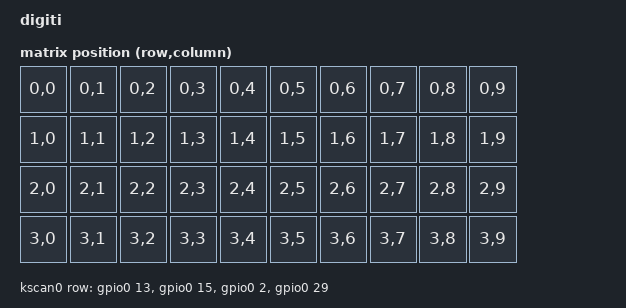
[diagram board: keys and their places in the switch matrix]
/*
 * Copyright (c) 2021 The ZMK Contributors
 *
 * SPDX-License-Identifier: MIT
 */

 /dts-v1/;
 #include <nordic/nrf52840_qiaa.dtsi>
 #include <dt-bindings/zmk/matrix_transform.h>
 
 / {
     model = "digiti";
     compatible = "digiti";
 
     chosen {
         zephyr,code-partition = &code_partition;
         zephyr,sram = &sram0;
         zephyr,flash = &flash0;
		 zephyr,display = &lcd;
		 zephyr,console = &cdc_acm_uart;
		 zmk,battery = &vbatt;
         zmk,kscan = &kscan0;
         zmk,matrix_transform = &default_transform;
     };
 
     default_transform: keymap_transform_0 {
         compatible = "zmk,matrix-transform";
         columns = <10>;
         rows = <4>;
         map = <
            RC(0,0)  RC(0,1)  RC(0,2)  RC(0,3)  RC(0,4)      RC(0,5)  RC(0,6)  RC(0,7)  RC(0,8)  RC(0,9)
            RC(1,0)  RC(1,1)  RC(1,2)  RC(1,3)  RC(1,4)      RC(1,5)  RC(1,6)  RC(1,7)  RC(1,8)  RC(1,9)
            RC(2,0)  RC(2,1)  RC(2,2)  RC(2,3)  RC(2,4)      RC(2,5)  RC(2,6)  RC(2,7)  RC(2,8)  RC(2,9)
            RC(3,0)  RC(3,1)  RC(3,2)  RC(3,3)  RC(3,4)      RC(3,5)  RC(3,6)  RC(3,7)  RC(3,8)  RC(3,9)
         >;
     };
 
     kscan0: kscan {
         compatible = "zmk,kscan-gpio-matrix";
         label = "KSCAN";
 
         diode-direction = "col2row";
         row-gpios
             = <&gpio0 13 (GPIO_ACTIVE_HIGH | GPIO_PULL_DOWN)>
             , <&gpio0 15 (GPIO_ACTIVE_HIGH | GPIO_PULL_DOWN)>
             , <&gpio0  2 (GPIO_ACTIVE_HIGH | GPIO_PULL_DOWN)>
             , <&gpio0 29 (GPIO_ACTIVE_HIGH | GPIO_PULL_DOWN)>
             ;
     };
 
     vbatt: vbatt {
         compatible = "zmk,battery-voltage-divider";
         label = "BATTERY";
         io-channels = <&adc 7>; 
         output-ohms = <2000000>;
         full-ohms = <(2000000 + 820000)>;
     };
     
     ext-power {
		compatible = "zmk,ext-power-generic";
		label = "EXT_POWER";
		control-gpios = <&gpio0 10 GPIO_ACTIVE_HIGH>;
	};
 };
 
 
 &adc {
     status = "okay";
 };
 
 &gpiote {
     status = "okay";
 };
 
 &gpio0 {
     status = "okay";
 };
 
 &gpio1 {
     status = "okay";
 };
 
 &usbd {
     status = "okay";
     cdc_acm_uart: cdc_acm_uart {
		compatible = "zephyr,cdc-acm-uart";
		label = "CDC_ACM_0";
	};
 };
 
 &uart0 {
     compatible = "nordic,nrf-uarte";
     status = "okay";
     current-speed = <115200>;
     tx-pin = <19>;
     rx-pin = <21>;
     rts-pin = <23>;
     cts-pin = <25>;
 };
 
 &spi0 {
    status = "okay";
    compatible = "nordic,nrf-spim";
    sck-pin = <22>;
    mosi-pin = <20>;
    cs-gpios = <&gpio1 13 GPIO_ACTIVE_HIGH>;
    // Unused pin, needed for SPI definition, but not used by the display driver itself.
    miso-pin = <7>; // 0.07 is not broken out

	lcd: ls0xx@0 {
		compatible = "sharp,ls0xx";
		label = "DISPLAY";
		spi-max-frequency = <2000000>;
		reg = <0>;
		width = <128>;
		height = <128>;
		extcomin-gpios = <&gpio0 12 GPIO_ACTIVE_HIGH>;
		extcomin-frequency = <60>;
		disp-en-gpios =  <&gpio1 15 GPIO_ACTIVE_HIGH>; 
	};
};

 &flash0 {
     /*
      * For more information, see:
      * http://docs.zephyrproject.org/latest/devices/dts/flash_partitions.html
      */
     partitions {
         compatible = "fixed-partitions";
         #address-cells = <1>;
         #size-cells = <1>;
 
         sd_partition: partition@0 {
             label = "softdevice";
             reg = <0x00000000 0x00026000>;
         };
         code_partition: partition@26000 {
             label = "code_partition";
             reg = <0x00026000 0x000c6000>;
         };
 
         /*
          * The flash starting at 0x000ec000 and ending at
          * 0x000f3fff is reserved for use by the application.
          */
 
         /*
          * Storage partition will be used by FCB/LittleFS/NVS
          * if enabled.
          */
         storage_partition: partition@ec000 {
             label = "storage";
             reg = <0x000ec000 0x00008000>;
         };
 
         boot_partition: partition@f4000 {
             label = "adafruit_boot";
             reg = <0x000f4000 0x0000c000>;
         };
     };
 };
